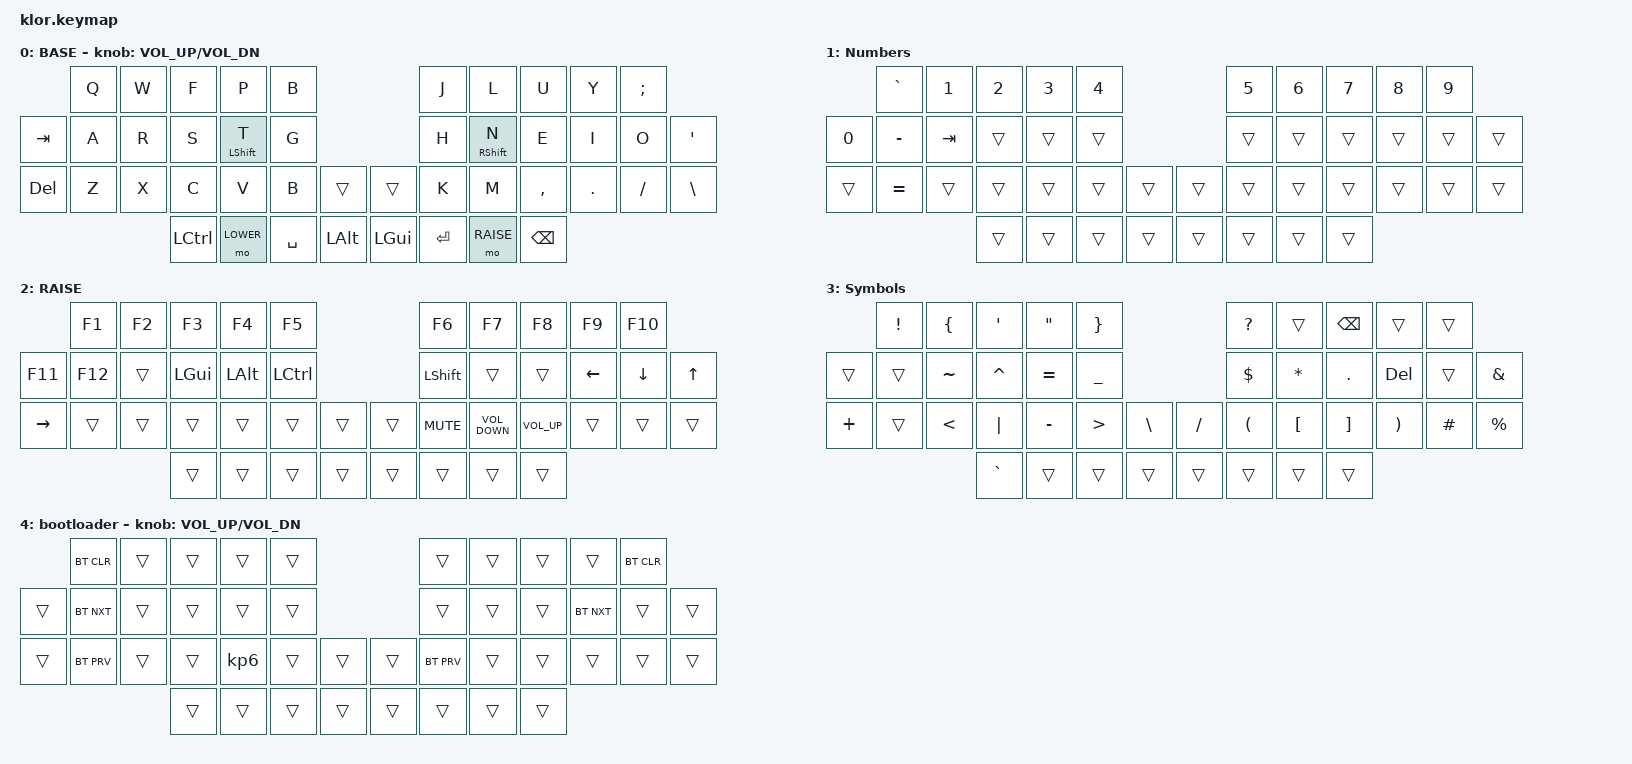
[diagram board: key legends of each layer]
#include <behaviors.dtsi>
#include <dt-bindings/zmk/keys.h>
#include <dt-bindings/zmk/bt.h>
#include <dt-bindings/zmk/outputs.h>
#include <dt-bindings/zmk/ext_power.h>
#include <dt-bindings/zmk/rgb.h>

#define BASE   0
#define LOWER  1
#define RAISE  2
#define ADJUST 3

/ {
    behaviors {
        hm: homerow_mods {
            compatible = "zmk,behavior-hold-tap";
            label = "HOMEROW_MODS";
            #binding-cells = <2>;
            tapping-term-ms = <150>;
            quick_tap_ms = <0>;
            flavor = "tap-preferred";
            bindings = <&kp>, <&kp>;
        };
    };

    combos {
        compatible = "zmk,combos";

        combo_esc {
            timeout-ms = <50>;
            key-positions = <0 1>;
            bindings = <&kp ESC>;
        };
    };

    keymap {
        compatible = "zmk,keymap";

        base_layer {
            label = "BASE";
            bindings = <
            &kp Q     &kp W     &kp F     &kp P   &kp B                          &kp J     &kp L     &kp U     &kp Y     &kp SEMI
    &kp TAB   &kp A     &kp R     &kp S   &hm LSHFT T &kp G                          &kp H   &hm RSHFT N &kp E     &kp I     &kp O     &kp SQT
    &kp DEL   &kp Z     &kp X     &kp C     &kp V     &kp B     &trans     &trans    &kp K     &kp M     &kp COMMA &kp DOT   &kp FSLH  &kp BSLH
                                  &kp LCTRL &mo LOWER &kp SPACE &kp LALT   &kp LGUI  &kp RET   &mo RAISE &kp BSPC    
                        >;
            sensor-bindings = <&inc_dec_kp C_VOL_UP C_VOL_DN>;
                };

        lowerlayer {
            bindings = <
&kp GRAVE  &kp N1  &kp N2  &kp N3  &kp N4  &kp N5    &kp N6  &kp N7  &kp N8  &kp N9  &kp N0  &kp MINUS
&kp TAB    &trans  &trans  &trans  &trans  &trans    &trans  &trans  &trans  &trans  &trans  &kp EQUAL
           &trans  &trans  &trans  &trans  &trans    &trans  &trans  &trans  &trans  &trans
           &trans  &trans  &trans  &trans  &trans    &trans  &trans  &trans  &trans  &trans
            >;

            label = "Numbers";
        };

        raise_layer {
            label = "RAISE";
            bindings = <
&kp F1  &kp F2    &kp F3    &kp F4     &kp F5     &kp F6    &kp F7  &kp F8          &kp F9             &kp F10          &kp F11          &kp F12
&trans  &kp LGUI  &kp LALT  &kp LCTRL  &kp LSHFT  &trans    &trans  &kp LEFT_ARROW  &kp DOWN_ARROW     &kp UP_ARROW     &kp RIGHT_ARROW  &trans
        &trans    &trans    &trans     &trans     &trans    &trans  &kp K_MUTE      &kp C_VOLUME_DOWN  &kp C_VOLUME_UP  &trans
        &trans    &trans    &trans     &trans     &trans    &trans  &trans          &trans             &trans           &trans
            >;
        };

        Symbols_layer {
            label = "Symbols";
            bindings = <
&kp EXCL   &kp LEFT_BRACE  &kp SINGLE_QUOTE  &kp DOUBLE_QUOTES  &kp RIGHT_BRACE   &kp QUESTION     &trans      &kp BACKSPACE         &trans            &trans             &trans                 &trans
&kp TILDE  &kp CARET       &kp EQUAL         &kp UNDER          &kp DOLLAR        &kp STAR         &kp PERIOD  &kp DEL               &trans            &kp AMPERSAND      &kp PLUS               &trans
           &kp LESS_THAN   &kp PIPE          &kp MINUS          &kp GREATER_THAN  &kp BACKSLASH    &kp SLASH   &kp LEFT_PARENTHESIS  &kp LEFT_BRACKET  &kp RIGHT_BRACKET  &kp RIGHT_PARENTHESIS
           &kp HASH        &kp PERCENT       &kp GRAVE          &trans            &trans           &trans      &trans                &trans            &trans             &trans
            >;
        };

        bootlayer {
            bindings = <
&bt BT_CLR &trans    &trans    &trans    &trans                         &trans    &trans    &trans    &trans    &bt BT_CLR   
    &trans   &bt BT_NXT &trans    &trans    &trans    &trans                         &trans    &trans    &trans    &bt BT_NXT &trans   &trans 
    &trans   &bt BT_PRV &trans    &trans    &kp KP_N6 &trans    &trans     &trans    &bt BT_PRV &trans   &trans    &trans    &trans    &trans    
                                  &trans    &trans    &trans    &trans     &trans    &trans    &trans    &trans    
                        >;
            sensor-bindings = <&inc_dec_kp C_VOL_UP C_VOL_DN>;

            label = "bootloader";
        };
    };
};
